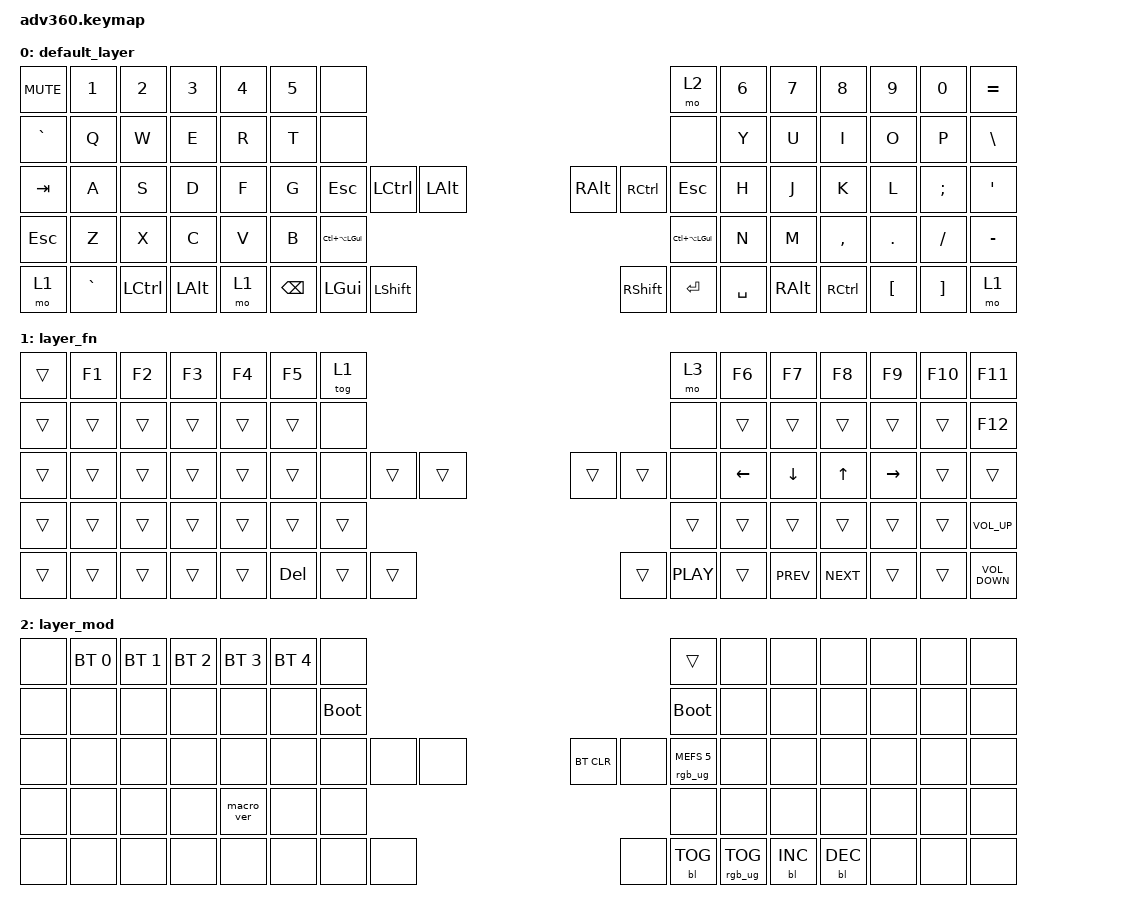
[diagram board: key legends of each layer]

/*
 * Copyright (c) 2020 The ZMK Contributors
 *
 * SPDX-License-Identifier: MIT
 */


/* THIS FILE WAS GENERATED!
 *
 * This file was generated automatically. You may or may not want to
 * edit it directly.
 */

#include <behaviors.dtsi>
#include <dt-bindings/zmk/keys.h>
#include <dt-bindings/zmk/bt.h>
#include <dt-bindings/zmk/rgb.h>
#include <dt-bindings/zmk/backlight.h>

/ {
  behaviors {
    #include "macros.dtsi"
    #include "version.dtsi"

    hm: homerow_mods {
        compatible = "zmk,behavior-hold-tap";
        label = "HOMEROW_MODS";
        #binding-cells = <2>;
        tapping-term-ms = <200>;
        quick_tap_ms = <175>;
        flavor = "tap-preferred";
        bindings = <&kp>, <&kp>;
    };
  };

    keymap {
        compatible = "zmk,keymap";


        default_layer {
            bindings = <
 &kp C_MUTE     &kp N1     &kp N2        &kp N3  &kp N4  &kp N5               &none                                                                                   &mo 2  &kp N6         &kp N7             &kp N8    &kp N9    &kp N0  &kp EQUAL
  &kp GRAVE      &kp Q      &kp W         &kp E   &kp R   &kp T               &none                                                                                   &none   &kp Y          &kp U              &kp I     &kp O     &kp P   &kp BSLH
    &kp TAB      &kp A      &kp S         &kp D   &kp F   &kp G             &kp ESC     &kp LCTRL      &kp LEFT_ALT                     &kp RIGHT_ALT  &kp RCTRL    &kp ESC   &kp H          &kp J              &kp K     &kp L  &kp SEMI    &kp SQT
    &kp ESC      &kp Z      &kp X         &kp C   &kp V   &kp B                                    &kp LC(LA(LGUI))                  &kp LC(LA(LGUI))                         &kp N          &kp M          &kp COMMA   &kp DOT  &kp FSLH  &kp MINUS
      &mo 1  &kp GRAVE  &kp LCTRL  &kp LEFT_ALT   &mo 1                    &kp BSPC  &kp LEFT_GUI    &kp LEFT_SHIFT                   &kp RIGHT_SHIFT  &kp ENTER  &kp SPACE          &kp RIGHT_ALT  &kp RIGHT_CONTROL  &kp LBKT  &kp RBKT      &mo 1
            >;
        };

        layer_fn {
            bindings = <
 &trans  &kp F1  &kp F2  &kp F3  &kp F4  &kp F5             &tog 1                                                       &mo 3          &kp F6          &kp F7        &kp F8           &kp F9  &kp F10            &kp F11
 &trans  &trans  &trans  &trans  &trans  &trans              &none                                                       &none          &trans          &trans        &trans           &trans   &trans            &kp F12
 &trans  &trans  &trans  &trans  &trans  &trans              &none  &trans  &trans                  &trans      &trans   &none  &kp LEFT_ARROW  &kp DOWN_ARROW  &kp UP_ARROW  &kp RIGHT_ARROW   &trans             &trans
 &trans  &trans  &trans  &trans  &trans  &trans                             &trans                  &trans                              &trans          &trans        &trans           &trans   &trans    &kp C_VOLUME_UP
 &trans  &trans  &trans  &trans  &trans                    &kp DEL  &trans  &trans                  &trans  &kp C_PLAY  &trans                      &kp C_PREV    &kp C_NEXT           &trans   &trans  &kp C_VOLUME_DOWN
            >;
        };

        layer_mod {
            bindings = <
  &none  &bt BT_SEL 0  &bt BT_SEL 1  &bt BT_SEL 2  &bt BT_SEL 3  &bt BT_SEL 4                  &none                                                                          &trans   &none       &none       &none   &none   &none   &none
  &none         &none         &none         &none         &none         &none            &bootloader                                                                     &bootloader   &none       &none       &none   &none   &none   &none
  &none         &none         &none         &none         &none         &none                  &none   &none   &none                  &bt BT_CLR       &none  &rgb_ug RGB_MEFS_CMD 5   &none       &none       &none   &none   &none   &none
  &none         &none         &none         &none    &macro_ver         &none                                  &none                       &none                                       &none       &none       &none   &none   &none   &none
  &none         &none         &none         &none         &none                                &none   &none   &none                       &none  &bl BL_TOG         &rgb_ug RGB_TOG          &bl BL_INC  &bl BL_DEC   &none   &none   &none
            >;
        };

    };
};
